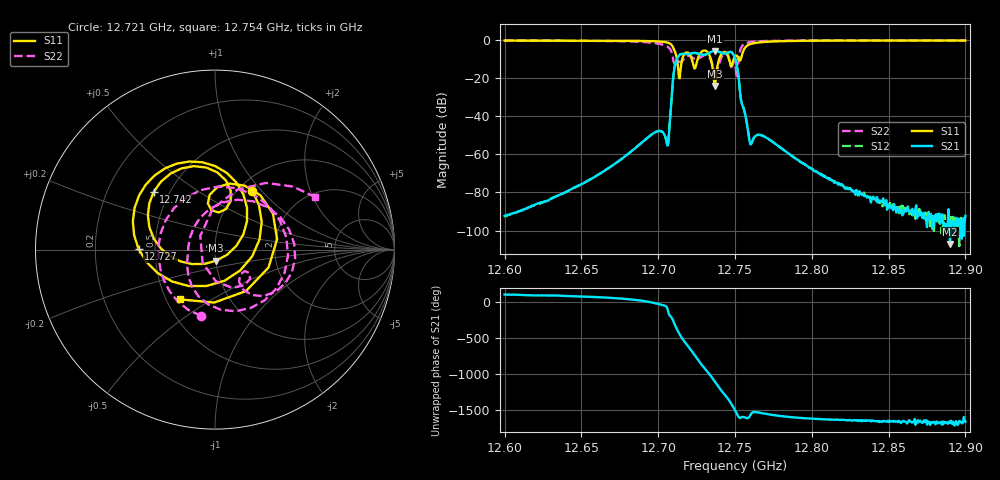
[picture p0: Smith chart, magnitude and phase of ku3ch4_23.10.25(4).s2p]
#  HZ  S  RI  R  50.00
! Rohde & Schwarz ZVA50 2Ports - Version 3.70 - 1145.1110k50 SN: 100192
! Date: 2025-10-23 16:22:35
! Measurements: S11 S21 S12 S22
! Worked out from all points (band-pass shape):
!   601 points, 12.6 GHz to 12.9 GHz, reference 50 ohm
!   highest |S21| = -5.64 dB at 12.737 GHz (marker M1); lowest = -107.0 dB at 12.89 GHz (marker M2)
!   |S21| within 3 dB of the highest: 12.71303 GHz to 12.74965 GHz (36.62 MHz wide, 0.288 % of centre)
!   lowest |S11| = -24.0 dB at 12.737 GHz (marker M3), VSWR 1.13, Z = 50.2 - j6.31 ohm
!   |S11| at or under -10 dB: 12.71218 GHz to 12.71569 GHz (3.513 MHz wide, 0.0276 % of centre); 12.72184 GHz to 12.7257 GHz (3.864 MHz wide, 0.0304 % of centre); 12.73428 GHz to 12.73968 GHz (5.397 MHz wide, 0.0424 % of centre)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
!   |S22| runs from -19.9 to -0.2 dB; largest |S21 - S12| = 0.00015
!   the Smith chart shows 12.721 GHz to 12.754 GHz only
!   S11 on the Smith chart (normalised r, x): 12.721 GHz: 1.16, +0.89; 12.727 GHz: 0.40, +0.00; 12.742 GHz: 0.41, +0.34; 12.754 GHz: 0.59, -0.37
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1.26e10  -0.9406 -0.2556  -4.88e-06 2.36e-05  -4.54e-06 2.32e-05  -0.9523 -0.2067
1.265e10  -0.9663 0.0818  4.41e-05 0.000158  3.85e-05 0.000158  -0.92 0.2812
1.26875e10  -0.7566 0.5805  0.00165 0.000643  0.00165 0.000647  -0.0254 0.9046
1.27e10  -0.4058 0.8314  0.00358 -0.00198  0.00359 -0.00198  0.7939 0.1538
1.2706e10  0.019 0.863  -8.3e-05 -0.0017  -8.62e-05 -0.00169  0.2131 -0.6422
1.27115e10  0.3759 0.1908  0.2675 0.038  0.2675 0.038  -0.285 -0.069
1.27165e10  -0.3019 0.2532  -0.4332 -0.0316  -0.4333 -0.0316  0.2788 0.1489
1.2721e10  0.2079 0.3278  0.2265 0.3787  0.2266 0.3787  -0.0772 -0.3693
1.2727e10  -0.4259 0.00404  -0.2164 -0.3714  -0.2164 -0.3715  -0.0778 0.3321
1.27325e10  0.000384 0.4655  -0.0502 0.4416  -0.0502 0.4416  0.1986 -0.3256
1.2737e10  0.00569 -0.0626  0.4295 -0.2978  0.4295 -0.2978  -0.1517 -0.0207
1.2742e10  -0.3407 0.3232  -0.4496 -0.00606  -0.4496 -0.00607  0.3621 0.1821
1.27455e10  0.0608 0.3851  0.00628 0.4732  0.00629 0.4732  0.2682 -0.2589
1.275e10  0.0806 0.3681  0.1254 -0.3179  0.1255 -0.3179  0.0942 -0.2131
1.2754e10  -0.1931 -0.2776  -0.0249 -0.00493  -0.0249 -0.00493  0.5572 0.2931
1.27565e10  -0.5028 0.3755  -0.0116 -0.00181  -0.0116 -0.00181  0.8021 -0.1142
1.2761e10  0.1951 0.7881  -0.00053 -0.002  -0.000527 -0.00201  0.6947 -0.5758
1.27725e10  0.907 -0.1034  -0.00149 -0.00192  -0.00148 -0.00192  0.2353 -0.9241
1.28e10  0.0624 -0.9649  -0.00041 3.62e-05  -0.00041 4.14e-05  -0.3376 -0.9149
1.285e10  -0.6368 -0.7416  -2.51e-05 3.17e-05  -3.26e-05 2.7e-05  -0.7091 -0.6767
1.289e10  -0.8185 -0.5355  -1.6e-06 4.15e-06  -6.65e-06 2.12e-05  -0.836 -0.5136
1.29e10  -0.8459 -0.49  -1.61e-05 1.82e-05  -6.2e-06 1.91e-05  -0.8574 -0.4764
